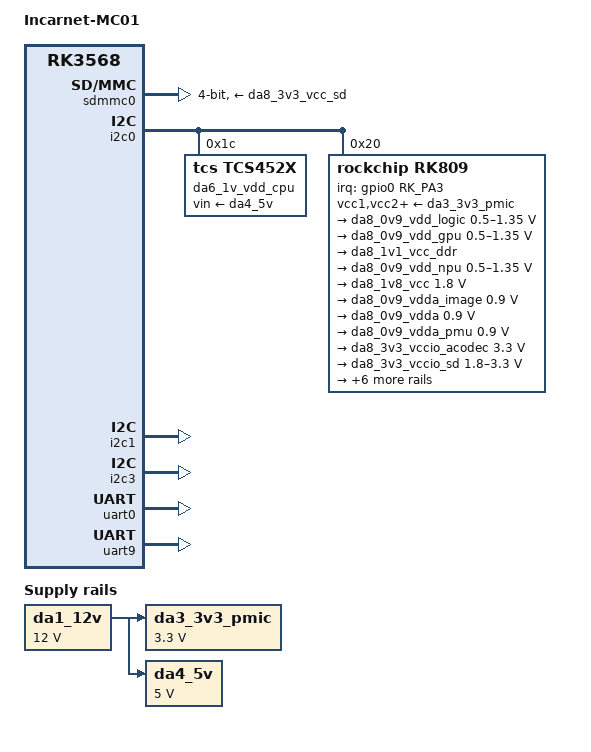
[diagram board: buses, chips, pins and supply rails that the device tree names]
/dts-v1/;
#include <dt-bindings/gpio/gpio.h>
#include <dt-bindings/leds/common.h>
#include <dt-bindings/pinctrl/rockchip.h>
#include "rk3568.dtsi"

#include "ethernet.dtsi"
#include "usb.dtsi"
//#include "wireless.dtsi"
//#include "audio.dtsi"
//#include "video.dtsi"

/ {
	compatible = "incarnet,mc01", "rockchip,rk3568";
    
	model = "Incarnet-MC01";

	aliases {
		ethernet0 = &gmac0;
		ethernet1 = &gmac1;
        mmc0 = &sdhci;
		mmc1 = &sdmmc0;
	};

	chosen: chosen {
		bootargs = "earlycon=uart8250,mmio32,0xfe660000 console=ttyFIQ0 root=/dev/mmcblk1p2 rootfstype=ext4 ro rootwait";
	};

	/*
		UART2_TX -> DD3 -> XS1
		UART2_RX <- DD3 <- XS1
	*/
	fiq-debugger {
		compatible = "rockchip,fiq-debugger";
		rockchip,serial-id = <2>;
		rockchip,wake-irq = <0>;
		/* If enable uart uses irq instead of fiq */
		rockchip,irq-mode-enable = <1>;
		rockchip,baudrate = <1500000>;  /* Only 115200 and 1500000 */
		interrupts = <GIC_SPI 252 IRQ_TYPE_LEVEL_LOW>;
		pinctrl-names = "default";
		pinctrl-0 = <&uart2m0_xfer>;
		status = "okay";
	};

	// DA1
	//12V
	da1_12v: da1_12v {
		compatible = "regulator-fixed";
		regulator-name = "da1_12v";
		regulator-always-on;
		regulator-boot-on;
		regulator-min-microvolt = <12000000>;
		regulator-max-microvolt = <12000000>;
	};

	// DA3
	// +3.3V_PMIC
	da3_3v3_pmic: da3_3v3_pmic {
		compatible = "regulator-fixed";
		regulator-name = "da3_3v3_pmic";
		regulator-always-on;
		regulator-boot-on;
		regulator-min-microvolt = <3300000>;
		regulator-max-microvolt = <3300000>;
		vin-supply = <&da1_12v>;
	};

	// DA4
	// 5V
	da4_5v: da4_5v {
		compatible = "regulator-fixed";
		regulator-name = "da4_5v";
		regulator-always-on;
		regulator-boot-on;
		regulator-min-microvolt = <5000000>;
		regulator-max-microvolt = <5000000>;
		vin-supply = <&da1_12v>;
	};
};

&cpu0 {
	cpu-supply = <&da6_1v_vdd_cpu>;
};

&cpu1 {
	cpu-supply = <&da6_1v_vdd_cpu>;
};

&cpu2 {
	cpu-supply = <&da6_1v_vdd_cpu>;
};

&cpu3 {
	cpu-supply = <&da6_1v_vdd_cpu>;
};

/*
 *	There are 10 independent IO domains in RK3566/RK3568, including PMUIO[0:2] and VCCIO[1:7].
 *	1/ PMUIO0 and PMUIO1 are fixed-level power domains which cannot be configured;
 *	2/ PMUIO2 and VCCIO1,VCCIO[3:7] domains require that their hardware power supply voltages
 *		must be consistent with the software configuration correspondingly
 *		a/ When the hardware IO level is connected to 1.8V, the software voltage configuration
 *			should also be configured to 1.8V accordingly;
 *		b/ When the hardware IO level is connected to 3.3V, the software voltage configuration
 *			should also be configured to 3.3V accordingly;
 *	3/ VCCIO2 voltage control selection (0xFDC20140)
 *	BIT[0]: 0x0: from GPIO_0A7 (default)
 *	BIT[0]: 0x1: from GRF
 *	Default is determined by Pin FLASH_VOL_SEL/GPIO0_A7:
 *	L:VCCIO2 must supply 3.3V
 *	H:VCCIO2 must supply 1.8V
 */
&pmu_io_domains {
	pmuio1-supply = <&da8_3v3_vcc_pmu>;
	pmuio2-supply = <&da8_3v3_vcc_pmu>;
	vccio1-supply = <&da8_3v3_vccio_acodec>;
	vccio2-supply = <&da8_1v8_vcc>;
	vccio3-supply = <&da8_3v3_vccio_sd>;
	vccio4-supply = <&da8_1v8_vcc>;
	vccio5-supply = <&da8_3v3_vcc>;
	vccio6-supply = <&da8_1v8_vcc>;
	vccio7-supply = <&da8_3v3_vcc>;
	status = "okay";
};

/* SDMMC0 - X21 */
&sdmmc0 {
	max-frequency = <50000000>;
	supports-sd;
	bus-width = <4>;
	cap-mmc-highspeed;
	cap-sd-highspeed;
	disable-wp;
	sd-uhs-sdr104;
	vmmc-supply = <&da8_3v3_vcc_sd>;
	vqmmc-supply = <&da8_3v3_vccio_sd>;
	pinctrl-names = "default";
	pinctrl-0 = <&sdmmc0_bus4 &sdmmc0_clk &sdmmc0_cmd &sdmmc0_det>;
	status = "okay";
};

&i2c0 {
	pinctrl-0 = <&i2c0_xfer>;
	pinctrl-names = "default";

	status = "okay";

	// DA6
	// +1V_VDD_CPU
	da6_1v_vdd_cpu: regulator@1c {
		compatible = "tcs,tcs452x";
		reg = <0x1c>;
		fcs,suspend-voltage-selector = <1>;
		regulator-name = "da6_1v_vdd_cpu";
		regulator-always-on;
		regulator-boot-on;
		regulator-min-microvolt = <800000>;
		regulator-max-microvolt = <1150000>;
		regulator-ramp-delay = <2300>;
		vin-supply = <&da4_5v>;

		regulator-state-mem {
			regulator-off-in-suspend;
		};
	};

	// DA8
	rk809: pmic@20 {
		compatible = "rockchip,rk809";
		reg = <0x20>;
		interrupt-parent = <&gpio0>;
/*
		PMIC_INT_
*/
		interrupts = <RK_PA3 IRQ_TYPE_LEVEL_LOW>;
		rockchip,system-power-controller;
		wakeup-source;
		#clock-cells = <1>;

		clock-names = "mclk";

		vcc1-supply = <&da3_3v3_pmic>;
		vcc2-supply = <&da3_3v3_pmic>;
		vcc3-supply = <&da3_3v3_pmic>;
		vcc4-supply = <&da3_3v3_pmic>;
		vcc5-supply = <&da3_3v3_pmic>;
		vcc6-supply = <&da3_3v3_pmic>;
		vcc7-supply = <&da3_3v3_pmic>;
		vcc8-supply = <&da3_3v3_pmic>;
		vcc9-supply = <&da3_3v3_pmic>;

		regulators {
			// +0.9_VDD_LOGIC
			da8_0v9_vdd_logic: DCDC_REG1 {
				regulator-name = "da8_0v9_vdd_logic";
				regulator-always-on;
				regulator-boot-on;
				regulator-init-microvolt = <900000>;
				regulator-initial-mode = <0x2>;
				regulator-min-microvolt = <500000>;
				regulator-max-microvolt = <1350000>;
				regulator-ramp-delay = <6001>;

				regulator-state-mem {
					regulator-off-in-suspend;
				};
			};

			// +0.9_VDD_GPU
			da8_0v9_vdd_gpu: DCDC_REG2 {
				regulator-name = "da8_0v9_vdd_gpu";
				regulator-always-on;
				regulator-init-microvolt = <900000>;
				regulator-initial-mode = <0x2>;
				regulator-min-microvolt = <500000>;
				regulator-max-microvolt = <1350000>;
				regulator-ramp-delay = <6001>;

				regulator-state-mem {
					regulator-off-in-suspend;
				};
			};

			// +1.1V_VCC_DDR
			da8_1v1_vcc_ddr: DCDC_REG3 {
				regulator-name = "da8_1v1_vcc_ddr";
				regulator-always-on;
				regulator-boot-on;
				regulator-initial-mode = <0x2>;

				regulator-state-mem {
					regulator-on-in-suspend;
				};
			};

			// +0.9_VDD_NPU
			da8_0v9_vdd_npu: DCDC_REG4 {
				regulator-name = "da8_0v9_vdd_npu";
				regulator-init-microvolt = <900000>;
				regulator-initial-mode = <0x2>;
				regulator-min-microvolt = <500000>;
				regulator-max-microvolt = <1350000>;
				regulator-ramp-delay = <6001>;

				regulator-state-mem {
					regulator-off-in-suspend;
				};
			};

			// +1.8_VCC
			da8_1v8_vcc: DCDC_REG5 {
				regulator-name = "da8_1v8_vcc";
				regulator-always-on;
				regulator-boot-on;
				regulator-min-microvolt = <1800000>;
				regulator-max-microvolt = <1800000>;

				regulator-state-mem {
					regulator-off-in-suspend;
				};
			};

			// +0.9V_VDDA_IMAGE
			da8_0v9_vdda_image: LDO_REG1 {
				regulator-boot-on;
				regulator-always-on;
				regulator-min-microvolt = <900000>;
				regulator-max-microvolt = <900000>;
				regulator-name = "da8_0v9_vdda_image";
				regulator-state-mem {
					regulator-off-in-suspend;
				};
			};

			// +0.9V_VDDA
			da8_0v9_vdda: LDO_REG2 {
				regulator-name = "da8_0v9_vdda";
				regulator-always-on;
				regulator-boot-on;
				regulator-min-microvolt = <900000>;
				regulator-max-microvolt = <900000>;

				regulator-state-mem {
					regulator-off-in-suspend;
				};
			};

			// +0.9V_VDDA_PMU
			da8_0v9_vdda_pmu: LDO_REG3 {
				regulator-name = "da8_0v9_vdda_pmu";
				regulator-always-on;
				regulator-boot-on;
				regulator-min-microvolt = <900000>;
				regulator-max-microvolt = <900000>;

				regulator-state-mem {
					regulator-on-in-suspend;
					regulator-suspend-microvolt = <900000>;
				};
			};

			// +3.3V_VCCIO_ACODEC
			da8_3v3_vccio_acodec: LDO_REG4 {
				regulator-name = "da8_3v3_vccio_acodec";
				regulator-always-on;
				regulator-min-microvolt = <3300000>;
				regulator-max-microvolt = <3300000>;

				regulator-state-mem {
					regulator-off-in-suspend;
				};
			};

			// +3.3V_VCCIO_SD
			da8_3v3_vccio_sd: LDO_REG5 {
				regulator-name = "da8_3v3_vccio_sd";
				regulator-always-on;
				regulator-boot-on;
				regulator-min-microvolt = <1800000>;
				regulator-max-microvolt = <3300000>;

				regulator-state-mem {
					regulator-off-in-suspend;
				};
			};

			// +3.3V_VCC_PMU
			da8_3v3_vcc_pmu: LDO_REG6 {
				regulator-name = "da8_3v3_vcc_pmu";
				regulator-always-on;
				regulator-boot-on;
				regulator-min-microvolt = <3300000>;
				regulator-max-microvolt = <3300000>;

				regulator-state-mem {
					regulator-on-in-suspend;
					regulator-suspend-microvolt = <3300000>;
				};
			};

			// +1.8V_VCCA
			da8_1v8_vcca: LDO_REG7 {
				regulator-name = "da8_1v8_vcca";
				regulator-always-on;
				regulator-boot-on;
				regulator-min-microvolt = <1800000>;
				regulator-max-microvolt = <1800000>;

				regulator-state-mem {
					regulator-off-in-suspend;
				};
			};

			// +1.8V_VCCA_PMU
			da8_1v8_vcca_pmu: LDO_REG8 {
				regulator-name = "da8_1v8_vcca_pmu";
				regulator-always-on;
				regulator-boot-on;
				regulator-min-microvolt = <1800000>;
				regulator-max-microvolt = <1800000>;

				regulator-state-mem {
					regulator-on-in-suspend;
					regulator-suspend-microvolt = <1800000>;
				};
			};

			// +1.8V_VCCA_IMAGE
			da8_1v8_vcca_image: LDO_REG9 {
				regulator-always-on;
				regulator-boot-on;
				regulator-min-microvolt = <1800000>;
				regulator-max-microvolt = <1800000>;
				regulator-name = "da8_1v8_vcca_image";
				regulator-state-mem {
					regulator-off-in-suspend;
				};
			};

			// +3.3V_VCC
			da8_3v3_vcc: SWITCH_REG1 {
				regulator-name = "da8_3v3_vcc";
				regulator-always-on;
				regulator-boot-on;

				regulator-state-mem {
					regulator-off-in-suspend;
				};
			};

			// +3.3V_VCC_SD
			da8_3v3_vcc_sd: SWITCH_REG2 {
				regulator-name = "da8_3v3_vcc_sd";
				regulator-always-on;
				regulator-boot-on;
				regulator-state-mem {
					regulator-off-in-suspend;
				};
			};
		};

	};
};

&i2c1 {
	pinctrl-0 = <&i2c1_xfer>;
	pinctrl-names = "default";
	status = "okay";
};

&i2c3 {
	pinctrl-0 = <&i2c3m0_xfer>;
	pinctrl-names = "default";
	status = "okay";
};

&uart0 {
/*
  UART0_TX -> TP17
  UART0_RX <- TP16
*/
  pinctrl-0 = <&uart0_xfer>;
  pinctrl-names = "default";
  status = "okay";
};


&uart8 {
/*
	UART8_TX -> DD8
	UART8_RX <- DD8
*/
	pinctrl-0 = <&uart8m1_xfer>;
	pinctrl-names = "default";
	status = "disabled";
};

&uart9 {
/*
	UART9_TX -> TP29 -> DD11 -> XT1
	UART9_RX <- TP31 <- DD11 <- XT1
*/
	pinctrl-0 = <&uart9m1_xfer>;
	pinctrl-names = "default";
	status = "okay";
};

&rkvdec {
	vdec-supply = <&da8_0v9_vdd_logic>;
	status = "disabled";
};

&pinctrl {
	pmic {
		pmic_int_pin: pmic-int-pin {
			// PMIC_INT_
			rockchip,pins = <0 RK_PA3 RK_FUNC_GPIO &pcfg_pull_up>;
		};
	};
};
